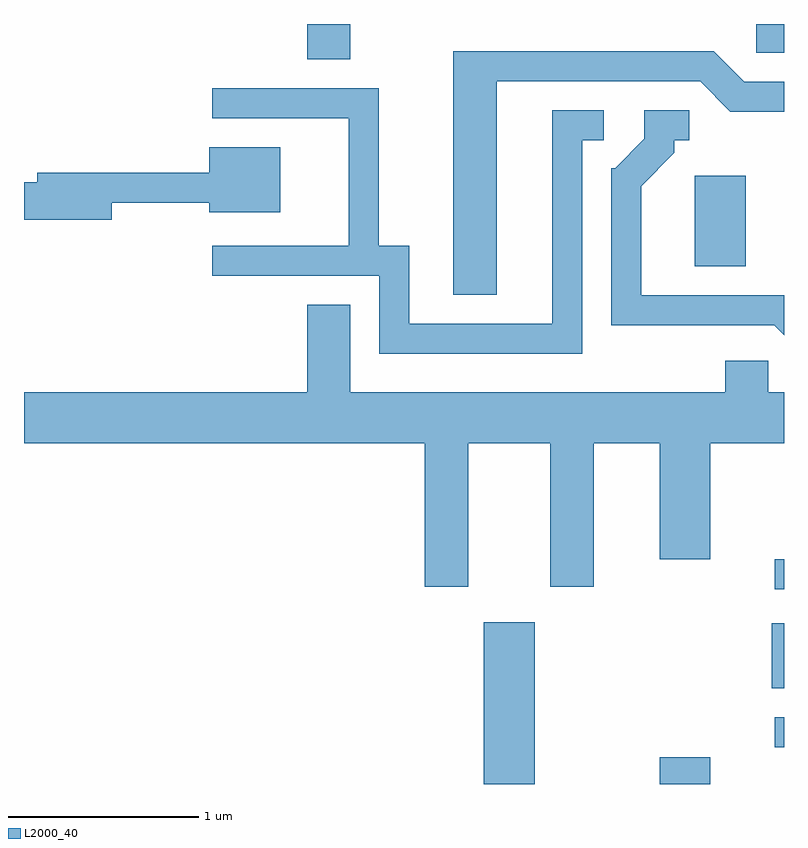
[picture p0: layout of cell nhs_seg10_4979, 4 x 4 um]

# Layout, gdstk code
import gdstk
lib = gdstk.Library(unit=1e-6, precision=1e-09)
def R(c, l, rs):  # rectangles x0, y0, x1, y1
    for r in rs: c.add(gdstk.rectangle(r[:2], r[2:], *l))
def P(c, l, *ps):  # polygons
    for p in ps: c.add(gdstk.Polygon(p, *l))
L2000_40 = (2000, 40)

nhs_seg10_4979 = lib.new_cell('nhs_seg10_4979')
R(nhs_seg10_4979, L2000_40, [(334.031,2156.522,334.299,2157.374), (334.956,2156.522,335.224,2156.664), (335.563,2156.716,335.611,2156.874), (335.546,2157.026,335.611,2157.369), (335.563,2157.546,335.611,2157.704), (335.141,2159.246,335.409,2159.724), (333.101,2160.336,333.329,2160.522), (335.466,2160.371,335.611,2160.522)])
P(nhs_seg10_4979, L2000_40, [(334.099,2160.221),(335.169,2160.221),(335.329,2160.061),(335.611,2160.061),(335.611,2160.219),(335.402,2160.219),(335.242,2160.379),(333.871,2160.379),(333.871,2159.096),(334.099,2159.096)],
  [(334.549,2159.911),(334.663,2159.911),(334.663,2160.069),(334.391,2160.069),(334.391,2158.944),(333.639,2158.944),(333.639,2159.354),(333.479,2159.354),(333.479,2160.184),(332.603,2160.184),(332.603,2160.026),(333.321,2160.026),(333.321,2159.354),(332.603,2159.354),(332.603,2159.196),(333.481,2159.196),(333.481,2158.786),(334.549,2158.786)],
  [(335.611,2159.094),(334.859,2159.094),(334.859,2159.669),(335.034,2159.844),(335.034,2159.911),(335.113,2159.911),(335.113,2160.069),(334.876,2160.069),(334.876,2159.917),(334.724,2159.764),(334.701,2159.764),(334.701,2158.936),(335.559,2158.936),(335.611,2158.884)],
  [(332.074,2159.581),(332.586,2159.581),(332.586,2159.531),(332.959,2159.531),(332.959,2159.874),(332.586,2159.874),(332.586,2159.739),(331.681,2159.739),(331.681,2159.689),(331.611,2159.689),(331.611,2159.491),(332.074,2159.491)],
  [(333.949,2158.316),(334.381,2158.316),(334.381,2157.561),(334.609,2157.561),(334.609,2158.316),(334.956,2158.316),(334.956,2157.706),(335.224,2157.706),(335.224,2158.316),(335.611,2158.316),(335.611,2158.584),(335.529,2158.584),(335.529,2158.749),(335.301,2158.749),(335.301,2158.584),(333.329,2158.584),(333.329,2159.044),(333.101,2159.044),(333.101,2158.584),(331.611,2158.584),(331.611,2158.316),(333.721,2158.316),(333.721,2157.561),(333.949,2157.561)])

lib.write_gds('nhs_seg10_4979.gds')
